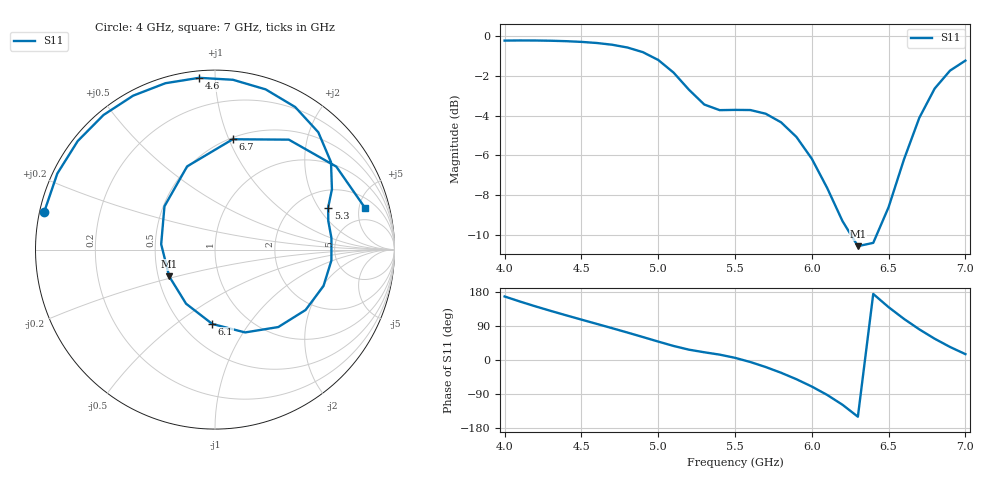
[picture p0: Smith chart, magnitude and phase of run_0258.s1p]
! Touchstone file exported from HFSS 2024.2.0
!  File:  C:/Users/wsak9/Desktop/Sim Fast/Widenad Patch/WP_AI_V1_sweep.aedt
!  Generated:  01:51:38 AM Oct 14, 2026
!  Design:  A1_model
!  Project:  WP_AI_V1_sweep
!  Setup:  Setup1
!  Solution:  Sweep
! Variables:
!  Air_gap = 3.04mm
!  Curve_Amp1 = 1.95
!  Curve_len1 = 1
!  Curve_pos = 10.345mm
!  Extra = 2.43mm
!  H_sub = 0.79mm
!  L_Patch = 16.69mm
!  L_Patch1 = 13.99mm
!  Sx = 2.83mm
!  Sy = 2.05mm
!  WS = 0.39mm
!  W_Patch = 17.62mm
!  W_Patch1 = 11.56mm
!Data is not renormalized
# GHz S MA
! Terminal data exported
! Port[1] = 1
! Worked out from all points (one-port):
!   31 points, 4 GHz to 7 GHz, reference per port
!   lowest |S11| = -10.6 dB at 6.3 GHz (marker M1), VSWR 1.84
!   |S11| at or under -10 dB: 6.254 GHz to 6.423 GHz (169.6 MHz wide, 2.68 % of centre)
!   S11 on the Smith chart (normalised r, x): 4 GHz: 0.01, +0.11; 4.6 GHz: 0.04, +0.91; 5.3 GHz: 2.86, +2.45; 6.1 GHz: 0.69, -0.69; 6.7 GHz: 0.51, +1.03; 7 GHz: 3.07, +5.76
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4  0.9746 167.7
4.1  0.9754 154.3
4.2  0.9751 141.7
4.4  0.9713 118.0
4.6  0.9611 95.3
4.7  0.9515 84.0
4.8  0.9362 72.4
4.9  0.9114 60.6
5  0.8711 48.6
5.1  0.8095 37.0
5.2  0.733 27.3
5.3  0.6725 20.4
5.5  0.6519 5.7
5.6  0.6514 -5.3
5.7  0.6376 -18.6
5.8  0.6066 -33.7
5.9  0.5572 -50.7
6  0.491 -70.0
6.1  0.4145 -92.1
6.2  0.3418 -118.1
6.3  0.2956 -149.7
6.4  0.3014 174.3
6.5  0.3707 139.4
6.6  0.489 108.5
6.7  0.6226 80.9
6.8  0.7379 56.1
6.9  0.8188 34.4
7  0.8677 15.5
